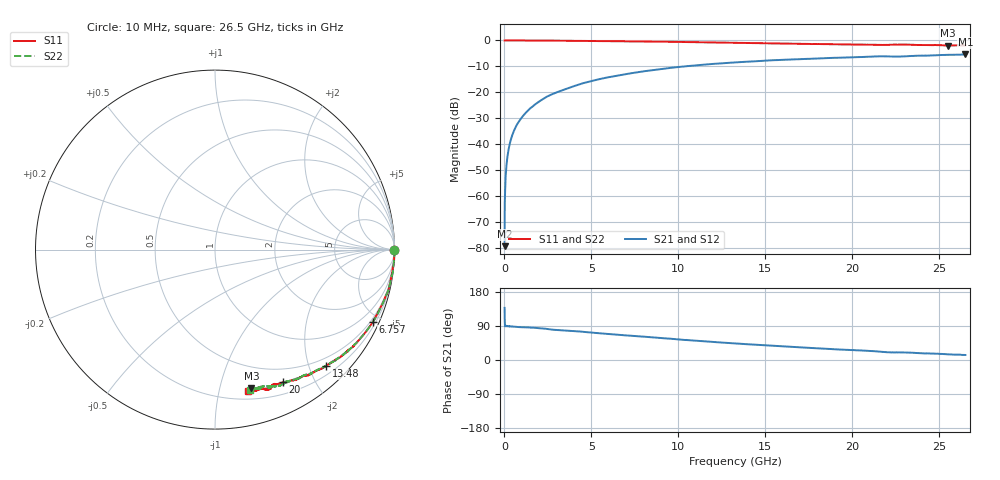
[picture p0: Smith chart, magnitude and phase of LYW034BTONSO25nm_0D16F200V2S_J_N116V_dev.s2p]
!Keysight Technologies,N5222B,MY61253708,A.15.00.15
!Date: Wednesday, June 19, 2024 09:47:51
!Correction: S11(C  2-Port  )
!S21(C  2-Port  )
!S12(C  2-Port  )
!S22(C  2-Port  )
!S2P File: Measurements: S11, S21, S12, S22:
# Hz S  RI  R 50
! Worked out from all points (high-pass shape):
!   2651 points, 10 MHz to 26.5 GHz, reference 50 ohm
!   highest |S21| = -5.39 dB at 26.5 GHz (marker M1); lowest = -79.5 dB at 10 MHz (marker M2)
!   |S21| within 3 dB of the highest: 13.45217 GHz to 13.49451 GHz (42.34 MHz wide, 0.314 % of centre); 13.5 GHz to end of sweep
!   lowest |S11| = -2.0 dB at 25.5 GHz (marker M3), VSWR 8.93, Z = 14.7 - j62.7 ohm
!   |S11| at or under -10 dB: nowhere
!   |S22| runs from -1.9 to 0.0 dB; largest |S21 - S12| = 0.0065
!   S11 on the Smith chart (normalised r, x): 10 MHz: open; 6.757 GHz: 0.37, -4.53; 13.48 GHz: 0.35, -2.29; 20 GHz: 0.33, -1.58; 26.5 GHz: 0.27, -1.22
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1e7  0.9987 -0.00278  -7.86e-05 7.18e-05  1.7e-05 0.000185  0.9984 -0.00134
7.997358e7  1 -0.00574  3.04e-05 0.00263  1.83e-05 0.00265  0.9994 -0.00533
1.499472e8  1 -0.0108  3.93e-05 0.00496  5.2e-05 0.00499  0.9995 -0.0102
2.199208e8  0.9998 -0.015  0.000126 0.00725  0.000118 0.00731  0.9994 -0.0143
3.098868e8  0.9995 -0.0208  0.000261 0.0102  0.000224 0.0103  0.9992 -0.0201
4.298415e8  0.9993 -0.0288  0.000395 0.0142  0.000418 0.0143  0.9996 -0.0281
5.797849e8  0.9985 -0.0386  0.000763 0.0191  0.000696 0.0192  0.9989 -0.038
7.59717e8  0.9983 -0.0504  0.00126 0.0249  0.00126 0.0251  0.9984 -0.0502
1.049608e9  0.9976 -0.0708  0.00217 0.0342  0.00219 0.0345  0.9961 -0.0693
1.399475e9  0.9911 -0.0951  0.00315 0.0457  0.00326 0.046  0.9936 -0.0914
2.299136e9  0.9828 -0.1496  0.00951 0.0764  0.00975 0.0769  0.9839 -0.1505
3.138819e9  0.9717 -0.2028  0.0202 0.1017  0.0205 0.1024  0.972 -0.2021
4.428332e9  0.9428 -0.28  0.0383 0.1413  0.0388 0.1422  0.9441 -0.2779
6.757453e9  0.8779 -0.4049  0.0893 0.1986  0.0907 0.1994  0.8786 -0.4054
8.846664e9  0.8038 -0.5013  0.1447 0.2364  0.1463 0.237  0.8043 -0.5006
1.3255e10  0.6281 -0.6415  0.2718 0.2607  0.2743 0.2604  0.6303 -0.6406
1.348491e10  0.6184 -0.6493  0.2786 0.2597  0.2798 0.2594  0.6204 -0.6452
1.767333e10  0.4566 -0.7212  0.378 0.2331  0.3815 0.2312  0.465 -0.7187
2.000245e10  0.3782 -0.7395  0.4239 0.2072  0.4271 0.2045  0.3887 -0.7391
2.209166e10  0.3212 -0.7544  0.4606 0.1711  0.4625 0.168  0.3134 -0.7599
2.550038e10  0.2024 -0.7725  0.5098 0.1348  0.5113 0.134  0.2211 -0.7744
2.65e10  0.1829 -0.7863  0.5232 0.1234  0.5228 0.1193  0.1948 -0.7841
